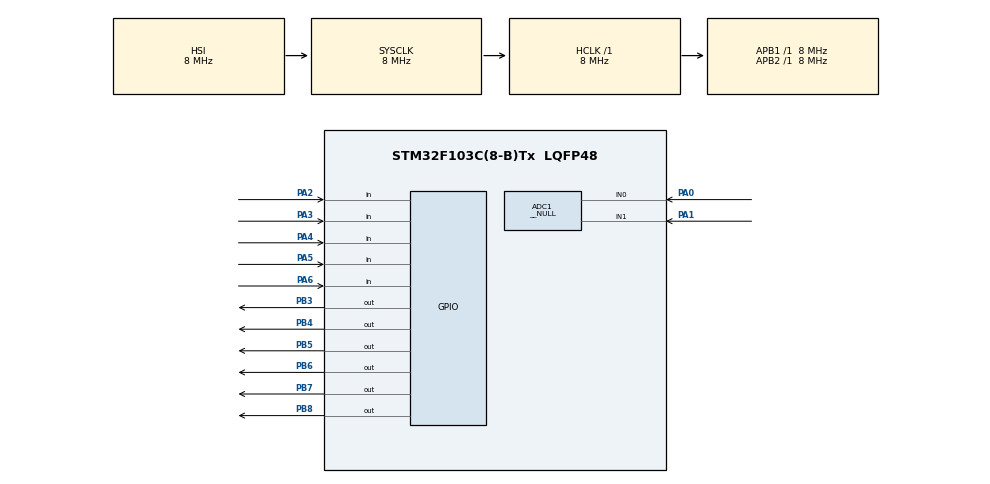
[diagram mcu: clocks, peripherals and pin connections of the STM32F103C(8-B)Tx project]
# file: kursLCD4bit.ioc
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ADC1.Channel-0\#ChannelRegularConversion=ADC_CHANNEL_0
ADC1.Channel-1\#ChannelRegularConversion=ADC_CHANNEL_1
ADC1.ContinuousConvMode=DISABLE
ADC1.Mode=__NULL
ADC1.NbrOfConversion=2
ADC1.NbrOfConversionFlag=1
ADC1.Rank-0\#ChannelRegularConversion=1
ADC1.Rank-1\#ChannelRegularConversion=2
ADC1.SamplingTime-0\#ChannelRegularConversion=ADC_SAMPLETIME_1CYCLE_5
ADC1.SamplingTime-1\#ChannelRegularConversion=ADC_SAMPLETIME_1CYCLE_5
ADC1.master=1
Dma.ADC1.0.Direction=DMA_PERIPH_TO_MEMORY
Dma.ADC1.0.Instance=DMA1_Channel1
Dma.ADC1.0.MemDataAlignment=DMA_MDATAALIGN_HALFWORD
Dma.ADC1.0.MemInc=DMA_MINC_ENABLE
Dma.ADC1.0.Mode=DMA_NORMAL
Dma.ADC1.0.PeriphDataAlignment=DMA_PDATAALIGN_HALFWORD
Dma.ADC1.0.PeriphInc=DMA_PINC_DISABLE
Dma.ADC1.0.Priority=DMA_PRIORITY_LOW
Dma.Request0=ADC1
Mcu.Family=STM32F1
Mcu.Name=STM32F103C(8-B)Tx
Mcu.Package=LQFP48
NVIC.DMA1_Channel1_IRQn=true\:0\:0\:false\:false\:true\:false\:true\:true
NVIC.PriorityGroup=NVIC_PRIORITYGROUP_4
PA0-WKUP.Signal=ADCx_IN0
PA1.Signal=ADCx_IN1
PA13.Mode=Serial_Wire
PA13.Signal=SYS_JTMS-SWDIO
PA14.Mode=Serial_Wire
PA14.Signal=SYS_JTCK-SWCLK
PA2.Signal=GPIO_Input
PA3.Signal=GPIO_Input
PA4.Signal=GPIO_Input
PA5.Signal=GPIO_Input
PA6.Signal=GPIO_Input
PB3.Signal=GPIO_Output
PB4.Signal=GPIO_Output
PB5.Signal=GPIO_Output
PB6.Signal=GPIO_Output
PB7.Signal=GPIO_Output
PB8.Signal=GPIO_Output
PD0-OSC_IN.Mode=HSE-External-Oscillator
PD0-OSC_IN.Signal=RCC_OSC_IN
PD1-OSC_OUT.Mode=HSE-External-Oscillator
PD1-OSC_OUT.Signal=RCC_OSC_OUT
ProjectManager.HeapSize=0x200
ProjectManager.StackSize=0x400
ProjectManager.TargetToolchain=STM32CubeIDE
RCC.AHBFreq_Value=8000000
RCC.APB1Freq_Value=8000000
RCC.APB1TimFreq_Value=8000000
RCC.APB2Freq_Value=8000000
RCC.APB2TimFreq_Value=8000000
RCC.HCLKFreq_Value=8000000
RCC.SYSCLKFreq_VALUE=8000000
RCC.USBFreq_Value=8000000
SH.ADCx_IN0.0=ADC1_IN0,IN0
SH.ADCx_IN1.0=ADC1_IN1,IN1
board=custom

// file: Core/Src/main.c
/* USER CODE BEGIN Header */
/**
  ******************************************************************************
  * @file           : main.c
  * @brief          : Main program body
  ******************************************************************************
  * @attention
  *
  * Copyright (c) 2024 STMicroelectronics.
  * All rights reserved.
  *
  * This software is licensed under terms that can be found in the LICENSE file
  * in the root directory of this software component.
  * If no LICENSE file comes with this software, it is provided AS-IS.
  *
  ******************************************************************************
  */
/* USER CODE END Header */
#include "main.h"

/* USER CODE BEGIN Includes */
#include "lcd.h"
/* USER CODE END Includes */

ADC_HandleTypeDef hadc1;
DMA_HandleTypeDef hdma_adc1;

/* USER CODE BEGIN PV */
volatile uint16_t adc[2]={0,0}; // значения с АЦП с двух каналов
volatile float voltage[2]={0,0}; //расчитываемое напряжение
volatile uint8_t flag = 0; // флаг для колбэка
char buffer[12]; // буффер для числа
/* USER CODE END PV */

void SystemClock_Config(void);
static void MX_GPIO_Init(void);
static void MX_DMA_Init(void);
static void MX_ADC1_Init(void);

/* USER CODE BEGIN 0 */
void HAL_ADC_ConvCpltCallback(ADC_HandleTypeDef* hadc) // Колбэк по прерыванию от работы ADC
{
    if(hadc->Instance == ADC1) //проверка если прерывание от ADC1
    {
    	 flag = 1;
    }
}
/* USER CODE END 0 */

int main(void)
{

  /* MCU Configuration--------------------------------------------------------*/

  /* Reset of all peripherals, Initializes the Flash interface and the Systick. */
  HAL_Init();

  /* Configure the system clock */
  SystemClock_Config();

  /* Initialize all configured peripherals */
  MX_GPIO_Init();
  MX_DMA_Init();
  MX_ADC1_Init();
  /* USER CODE BEGIN 2 */
  Lcd_PortType ports[]={GPIOB,GPIOB,GPIOB,GPIOB};
  Lcd_PinType pins[]={GPIO_PIN_3,GPIO_PIN_4,GPIO_PIN_5,GPIO_PIN_6};
  Lcd_HandleTypeDef lcd;
  lcd=Lcd_create(ports,pins,GPIOB,GPIO_PIN_7,GPIOB,GPIO_PIN_8, LCD_4_BIT_MODE); //инициализация ЛСД

  HAL_ADC_Start_DMA(&hadc1, (uint32_t*)&adc, 2); //запуск АЦП в двух каналах с помощью прямого доступа к памяти
  /* USER CODE END 2 */

  /* Infinite loop */
  /* USER CODE BEGIN WHILE */
  while (1)
  {

	  if(flag)
	  {
		  flag = 0; //
		  voltage[0]=adc[0]/4096.0*500.0; //делим полученное измерение на кол-во измерений (2^12) и умножаем на макс. значение вольтметра, получаем вольты
		  voltage[1] = adc[1]/4096.0*500.0; // тоже самое для второго канала (нужен только для режима измерения падения напряжения)

	  if (HAL_GPIO_ReadPin(GPIOB,GPIO_PIN_0)==GPIO_PIN_SET){ //если выбран режим измерения падения напряжения
		  Lcd_cursor(&lcd,0,0);
		  Lcd_string(&lcd, "Mode: Vdrop"); //вывод на lcd
		  voltage[1]=voltage[1]-voltage[0]; // считаем разницу

	  }
	  if (HAL_GPIO_ReadPin(GPIOB,GPIO_PIN_1)==GPIO_PIN_SET){ // если выбран режим измерения напряжения
		  Lcd_cursor(&lcd,0,0);
		  Lcd_string(&lcd, "Mode: V    ");//вывод на lcd

	  }

	  if (HAL_GPIO_ReadPin(GPIOA,GPIO_PIN_2)==GPIO_PIN_SET){ // если выбран диапазон 100-500В
		  if (HAL_GPIO_ReadPin(GPIOB,GPIO_PIN_2)==GPIO_PIN_SET){ // проверка если стоит режим выключенного прибора
			  Lcd_clear(&lcd); // значит держим экран чистым
		  }
		  else{
			  Lcd_cursor(&lcd,0,11);
			  Lcd_string(&lcd, "500 V   "); // вывод выбранного диапазона
			  if (voltage[1]>=499.8){ // если напряжение выше возможного измерить
				  Lcd_string(&lcd, "Voltage limit"); // пишем, что достигли лимита вольтметра
			  }
			  if (voltage[1]>10.0 & voltage[1]<100.0){ // если напряжение ниже выбранного диапазона
				  Lcd_cursor(&lcd,1,0);
				  snprintf(buffer, sizeof(buffer), "%.1f", voltage[1]); //из float в string
				  Lcd_string(&lcd, buffer); // выводим напряжение
				  Lcd_cursor(&lcd,1,4);
				  Lcd_string(&lcd, " V             "); // обозначение + чистим экран от значов из других режимов
			  }
			  if (voltage[1]<10.0){ // если напряжение ниже выбранного диапазона
				  Lcd_cursor(&lcd,1,0);
				  snprintf(buffer, sizeof(buffer), "%.1f", voltage[1]); //из float в string
				  Lcd_string(&lcd, buffer); // выводим напряжение
				  Lcd_cursor(&lcd,1,3);
				  Lcd_string(&lcd, " V              "); // обозначение + чистим экран от значов из других режимов
			  }
			  if (voltage[1]>=100.0){
				  snprintf(buffer, sizeof(buffer), "%.1f", voltage[1]); //из float в string
				  Lcd_cursor(&lcd,1,0);
				  Lcd_string(&lcd, buffer); // выводим напряжение
				  Lcd_cursor(&lcd,1,5);
				  Lcd_string(&lcd, " V            "); // обозначение + чистим экран от значов из других режимов
			  }
		  }
	  }
	  if (HAL_GPIO_ReadPin(GPIOA,GPIO_PIN_3)==GPIO_PIN_SET){ // если выбран диапазон 10-100В
		  if (HAL_GPIO_ReadPin(GPIOB,GPIO_PIN_2)==GPIO_PIN_SET){ // проверка если стоит режим выключенного прибора
			  Lcd_clear(&lcd); // значит держим экран чистым
		  }
		  else{
			  Lcd_cursor(&lcd,0,11);
			  Lcd_string(&lcd, "100 V   "); // вывод выбранного диапазона
			  if (voltage[1]>=100.0){ // если напряжение выше выбранного диапазона
				  Lcd_cursor(&lcd,1,0);
				  Lcd_string(&lcd, "Voltage limit"); // пишем, что достигли лимита диапазона
		  	  }
			  if (voltage[1]<10.0){ // если напряжение ниже выбранного диапазона
				  Lcd_cursor(&lcd,1,0);
				  snprintf(buffer, sizeof(buffer), "%.2f", voltage[1]); //из float в string
				  Lcd_cursor(&lcd,1,0);
				  Lcd_string(&lcd, buffer); // выводим напряжение
				  Lcd_cursor(&lcd,1,4);
				  Lcd_string(&lcd, " V              "); // обозначение + чистим экран от значов из других режимов
			  }
			  if (voltage[1]>10.0 & voltage[1]<100.0){ // если напряжение в нашем выбранном диапазоне
				  snprintf(buffer, sizeof(buffer), "%.2f", voltage[1]); //из float в string
				  Lcd_cursor(&lcd,1,0);
				  Lcd_string(&lcd, buffer); // выводим напряжение
				  Lcd_cursor(&lcd,1,5);
				  Lcd_string(&lcd, " V             "); // обозначение + чистим экран от значов из других режимов
		  	  }
		  }
	  }
	  if (HAL_GPIO_ReadPin(GPIOA,GPIO_PIN_4)==GPIO_PIN_SET){ // если выбран диапазон 0-10В
		  if (HAL_GPIO_ReadPin(GPIOB,GPIO_PIN_2)==GPIO_PIN_SET){ // проверка если стоит режим выключенного прибора
			  Lcd_clear(&lcd); // значит держим экран чистым
		  }
		  else{
			  Lcd_cursor(&lcd,0,11);
			  Lcd_string(&lcd, "10000 mV"); // вывод выбранного диапазона
			  if (voltage[1]>=10.0){ // если напряжение выше выбранного диапазона
				  Lcd_cursor(&lcd,1,0);
				  Lcd_string(&lcd, "Voltage limit"); // пишем, что достигли лимита диапазона
	  		  }
	  		  else{
	  			  voltage[1]=voltage[1]*1000.0; //переводим в мВ
	  	  		  snprintf(buffer, sizeof(buffer), "%4.0f", voltage[1]); //из float в string
	  	  		  Lcd_cursor(&lcd,1,0);
	  	  		  Lcd_string(&lcd, buffer);// выводим напряжение
	  	  		  Lcd_cursor(&lcd,1,4);
	  	  		  Lcd_string(&lcd, " mV           "); // обозначение + чистим экран от значов из других режимов
	  		  }
		  }
	  }
	  HAL_ADC_Start_DMA(&hadc1, (uint32_t*)&adc, 2); //по новой измеряем значение АЦП
  	  }

    /* USER CODE END WHILE */

 }
}

void SystemClock_Config(void)
{
  RCC_OscInitTypeDef RCC_OscInitStruct = {0};
  RCC_ClkInitTypeDef RCC_ClkInitStruct = {0};
  RCC_PeriphCLKInitTypeDef PeriphClkInit = {0};

  /** Initializes the RCC Oscillators according to the specified parameters
  * in the RCC_OscInitTypeDef structure.
  */
  RCC_OscInitStruct.OscillatorType = RCC_OSCILLATORTYPE_HSI;
  RCC_OscInitStruct.HSIState = RCC_HSI_ON;
  RCC_OscInitStruct.HSICalibrationValue = RCC_HSICALIBRATION_DEFAULT;
  RCC_OscInitStruct.PLL.PLLState = RCC_PLL_NONE;
  if (HAL_RCC_OscConfig(&RCC_OscInitStruct) != HAL_OK)
  {
    Error_Handler();
  }

  /** Initializes the CPU, AHB and APB buses clocks
  */
  RCC_ClkInitStruct.ClockType = RCC_CLOCKTYPE_HCLK|RCC_CLOCKTYPE_SYSCLK
                              |RCC_CLOCKTYPE_PCLK1|RCC_CLOCKTYPE_PCLK2;
  RCC_ClkInitStruct.SYSCLKSource = RCC_SYSCLKSOURCE_HSI;
  RCC_ClkInitStruct.AHBCLKDivider = RCC_SYSCLK_DIV1;
  RCC_ClkInitStruct.APB1CLKDivider = RCC_HCLK_DIV1;
  RCC_ClkInitStruct.APB2CLKDivider = RCC_HCLK_DIV1;

  if (HAL_RCC_ClockConfig(&RCC_ClkInitStruct, FLASH_LATENCY_0) != HAL_OK)
  {
    Error_Handler();
  }
  PeriphClkInit.PeriphClockSelection = RCC_PERIPHCLK_ADC;
  PeriphClkInit.AdcClockSelection = RCC_ADCPCLK2_DIV2;
  if (HAL_RCCEx_PeriphCLKConfig(&PeriphClkInit) != HAL_OK)
  {
    Error_Handler();
  }
}

static void MX_ADC1_Init(void)
{

  ADC_ChannelConfTypeDef sConfig = {0};

  /** Common config
  */
  hadc1.Instance = ADC1;
  hadc1.Init.ScanConvMode = ADC_SCAN_ENABLE;
  hadc1.Init.ContinuousConvMode = DISABLE;
  hadc1.Init.DiscontinuousConvMode = DISABLE;
  hadc1.Init.ExternalTrigConv = ADC_SOFTWARE_START;
  hadc1.Init.DataAlign = ADC_DATAALIGN_RIGHT;
  hadc1.Init.NbrOfConversion = 2;
  if (HAL_ADC_Init(&hadc1) != HAL_OK)
  {
    Error_Handler();
  }

  /** Configure Regular Channel
  */
  sConfig.Channel = ADC_CHANNEL_0;
  sConfig.Rank = ADC_REGULAR_RANK_1;
  sConfig.SamplingTime = ADC_SAMPLETIME_1CYCLE_5;
  if (HAL_ADC_ConfigChannel(&hadc1, &sConfig) != HAL_OK)
  {
    Error_Handler();
  }

  /** Configure Regular Channel
  */
  sConfig.Channel = ADC_CHANNEL_1;
  sConfig.Rank = ADC_REGULAR_RANK_2;
  if (HAL_ADC_ConfigChannel(&hadc1, &sConfig) != HAL_OK)
  {
    Error_Handler();
  }

}

static void MX_DMA_Init(void)
{

  /* DMA controller clock enable */
  __HAL_RCC_DMA1_CLK_ENABLE();

  /* DMA interrupt init */
  /* DMA1_Channel1_IRQn interrupt configuration */
  HAL_NVIC_SetPriority(DMA1_Channel1_IRQn, 0, 0);
  HAL_NVIC_EnableIRQ(DMA1_Channel1_IRQn);

}

static void MX_GPIO_Init(void)
{
  GPIO_InitTypeDef GPIO_InitStruct = {0};

  /* GPIO Ports Clock Enable */
  __HAL_RCC_GPIOD_CLK_ENABLE();
  __HAL_RCC_GPIOA_CLK_ENABLE();
  __HAL_RCC_GPIOB_CLK_ENABLE();

  /*Configure GPIO pin Output Level */
  HAL_GPIO_WritePin(GPIOB, GPIO_PIN_3|GPIO_PIN_4|GPIO_PIN_5|GPIO_PIN_6
                          |GPIO_PIN_7|GPIO_PIN_8, GPIO_PIN_RESET);

  /*Configure GPIO pins : PA2 PA3 PA4 PA5
                           PA6 */
  GPIO_InitStruct.Pin = GPIO_PIN_2|GPIO_PIN_3|GPIO_PIN_4|GPIO_PIN_5
                          |GPIO_PIN_6;
  GPIO_InitStruct.Mode = GPIO_MODE_INPUT;
  GPIO_InitStruct.Pull = GPIO_NOPULL;
  HAL_GPIO_Init(GPIOA, &GPIO_InitStruct);

  /*Configure GPIO pins : PB3 PB4 PB5 PB6
                           PB7 PB8 */
  GPIO_InitStruct.Pin = GPIO_PIN_3|GPIO_PIN_4|GPIO_PIN_5|GPIO_PIN_6
                          |GPIO_PIN_7|GPIO_PIN_8;
  GPIO_InitStruct.Mode = GPIO_MODE_OUTPUT_PP;
  GPIO_InitStruct.Pull = GPIO_NOPULL;
  GPIO_InitStruct.Speed = GPIO_SPEED_FREQ_LOW;
  HAL_GPIO_Init(GPIOB, &GPIO_InitStruct);

}

void Error_Handler(void)
{
  __disable_irq();
  while (1)
  {
  }
}
